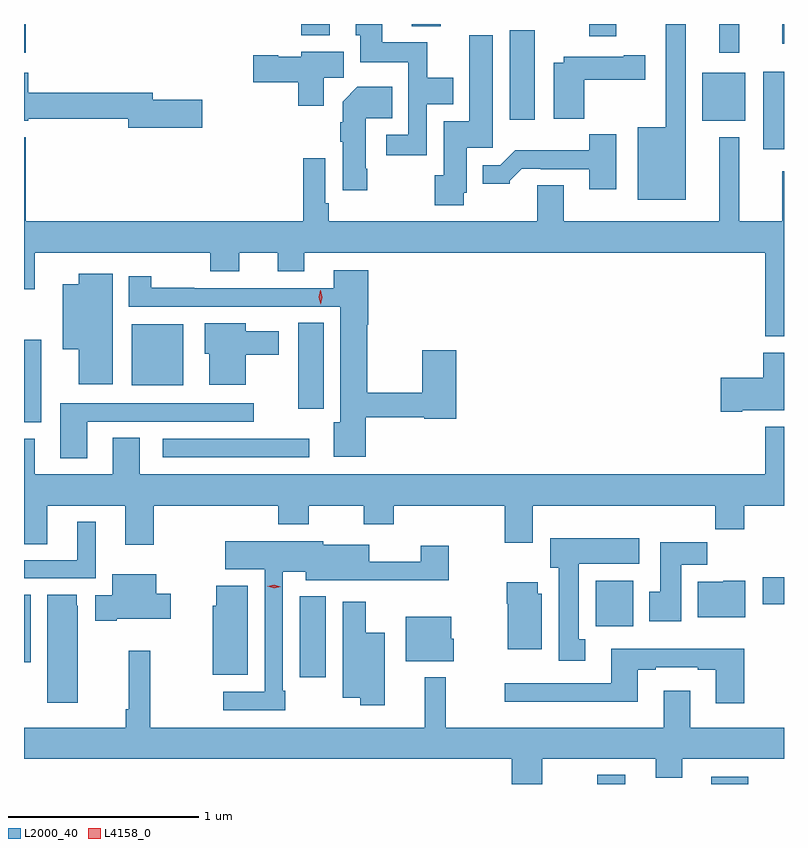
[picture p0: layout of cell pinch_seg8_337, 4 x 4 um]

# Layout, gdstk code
import gdstk
lib = gdstk.Library(unit=1e-6, precision=1e-09)
def R(c, l, rs):  # rectangles x0, y0, x1, y1
    for r in rs: c.add(gdstk.rectangle(r[:2], r[2:], *l))
def P(c, l, *ps):  # polygons
    for p in ps: c.add(gdstk.Polygon(p, *l))
L2000_40 = (2000, 40)
L4158_0 = (4158, 0)

pinch_seg8_337 = lib.new_cell('pinch_seg8_337')
R(pinch_seg8_337, L2000_40, [(462.184,1150.999,462.331,1151.047), (462.785,1150.999,462.979,1151.038), (460.619,1151.562,460.756,1151.986), (459.167,1151.64,459.202,1151.996), (462.176,1151.828,462.373,1152.07), (463.056,1151.945,463.167,1152.087), (459.897,1152.72,460.669,1152.816), (459.167,1152.902,459.259,1153.336), (460.61,1152.975,460.744,1153.427), (459.734,1153.097,460.006,1153.42), (463.058,1154.339,463.167,1154.749), (462.737,1154.489,462.964,1154.743), (461.723,1154.496,461.854,1154.965), (459.167,1154.847,459.175,1154.999), (462.827,1154.847,462.931,1154.999), (463.159,1154.895,463.167,1154.999), (462.143,1154.934,462.283,1154.999), (460.625,1154.939,460.777,1154.999), (461.207,1154.987,461.36,1154.999)])
P(pinch_seg8_337, L2000_40, [(461.286,1154.576),(461.425,1154.576),(461.425,1154.716),(461.289,1154.716),(461.289,1154.902),(461.053,1154.902),(461.053,1154.999),(460.913,1154.999),(460.913,1154.94),(460.937,1154.94),(460.937,1154.798),(461.19,1154.798),(461.19,1154.415),(461.073,1154.415),(461.073,1154.307),(461.286,1154.307)],
  [(462.649,1154.999),(462.545,1154.999),(462.545,1154.455),(462.398,1154.455),(462.398,1154.075),(462.649,1154.075)],
  [(461.481,1154.112),(461.497,1154.112),(461.497,1154.349),(461.635,1154.349),(461.635,1154.941),(461.51,1154.941),(461.51,1154.488),(461.375,1154.488),(461.375,1154.202),(461.329,1154.202),(461.329,1154.046),(461.481,1154.046)],
  [(460.744,1154.716),(460.849,1154.716),(460.849,1154.854),(460.626,1154.854),(460.626,1154.827),(460.506,1154.827),(460.506,1154.835),(460.374,1154.835),(460.374,1154.693),(460.61,1154.693),(460.61,1154.568),(460.744,1154.568)],
  [(462.116,1154.705),(462.436,1154.705),(462.436,1154.835),(462.323,1154.835),(462.323,1154.827),(462.009,1154.827),(462.009,1154.794),(461.954,1154.794),(461.954,1154.501),(462.116,1154.501)],
  [(460.105,1154.6),(459.844,1154.6),(459.844,1154.636),(459.19,1154.636),(459.19,1154.743),(459.167,1154.743),(459.167,1154.489),(459.19,1154.489),(459.19,1154.5),(459.716,1154.5),(459.716,1154.453),(460.105,1154.453)],
  [(460.974,1154.236),(460.966,1154.236),(460.966,1154.504),(461.105,1154.504),(461.105,1154.668),(460.922,1154.668),(460.844,1154.59),(460.844,1154.483),(460.832,1154.483),(460.832,1154.38),(460.844,1154.38),(460.844,1154.124),(460.974,1154.124)],
  [(462.283,1154.419),(462.141,1154.419),(462.141,1154.335),(461.752,1154.335),(461.673,1154.256),(461.582,1154.256),(461.582,1154.159),(461.724,1154.159),(461.724,1154.174),(461.788,1154.238),(461.887,1154.238),(461.887,1154.235),(462.143,1154.235),(462.143,1154.13),(462.283,1154.13)],
  [(463.167,1154.224),(463.159,1154.224),(463.159,1153.96),(462.931,1153.96),(462.931,1154.404),(462.827,1154.404),(462.827,1153.96),(462.007,1153.96),(462.007,1154.15),(461.867,1154.15),(461.867,1153.96),(460.772,1153.96),(460.772,1154.056),(460.752,1154.056),(460.752,1154.293),(460.636,1154.293),(460.636,1153.96),(459.175,1153.96),(459.175,1154.404),(459.167,1154.404),(459.167,1153.602),(459.223,1153.602),(459.223,1153.796),(460.148,1153.796),(460.148,1153.697),(460.3,1153.697),(460.3,1153.796),(460.502,1153.796),(460.502,1153.697),(460.642,1153.697),(460.642,1153.796),(463.067,1153.796),(463.067,1153.355),(463.167,1153.355)],
  [(460.966,1152.93),(461.274,1152.93),(461.274,1152.922),(461.441,1152.922),(461.441,1153.282),(461.263,1153.282),(461.263,1153.058),(460.974,1153.058),(460.974,1153.415),(460.979,1153.415),(460.979,1153.702),(460.796,1153.702),(460.796,1153.608),(460.064,1153.608),(460.064,1153.61),(459.837,1153.61),(459.837,1153.672),(459.719,1153.672),(459.719,1153.512),(460.832,1153.512),(460.832,1152.904),(460.796,1152.904),(460.796,1152.722),(460.966,1152.722)],
  [(459.634,1153.684),(459.455,1153.684),(459.455,1153.63),(459.371,1153.63),(459.371,1153.286),(459.455,1153.286),(459.455,1153.103),(459.634,1153.103)],
  [(460.333,1153.259),(460.507,1153.259),(460.507,1153.381),(460.333,1153.381),(460.333,1153.423),(460.118,1153.423),(460.118,1153.263),(460.142,1153.263),(460.142,1153.1),(460.333,1153.1)],
  [(462.946,1152.965),(463.167,1152.965),(463.167,1153.27),(463.058,1153.27),(463.058,1153.136),(462.834,1153.136),(462.834,1152.958),(462.946,1152.958)],
  [(459.499,1152.906),(460.375,1152.906),(460.375,1153.002),(459.359,1153.002),(459.359,1152.714),(459.499,1152.714)],
  [(459.849,1152.464),(460.505,1152.464),(460.505,1152.365),(460.665,1152.365),(460.665,1152.464),(460.954,1152.464),(460.954,1152.365),(461.114,1152.365),(461.114,1152.464),(461.698,1152.464),(461.698,1152.27),(461.845,1152.27),(461.845,1152.464),(462.805,1152.464),(462.805,1152.34),(462.957,1152.34),(462.957,1152.464),(463.167,1152.464),(463.167,1152.88),(463.067,1152.88),(463.067,1152.628),(459.775,1152.628),(459.775,1152.821),(459.635,1152.821),(459.635,1152.628),(459.223,1152.628),(459.223,1152.817),(459.167,1152.817),(459.167,1152.262),(459.289,1152.262),(459.289,1152.464),(459.701,1152.464),(459.701,1152.258),(459.849,1152.258)],
  [(459.544,1152.379),(459.446,1152.379),(459.446,1152.177),(459.167,1152.177),(459.167,1152.081),(459.544,1152.081)],
  [(462.121,1151.762),(462.088,1151.762),(462.088,1152.158),(462.406,1152.158),(462.406,1152.292),(461.936,1152.292),(461.936,1152.138),(461.981,1152.138),(461.981,1151.649),(462.121,1151.649)],
  [(460.543,1151.491),(460.53,1151.491),(460.53,1152.116),(460.649,1152.116),(460.649,1152.071),(461.403,1152.071),(461.403,1152.253),(461.255,1152.253),(461.255,1152.17),(460.984,1152.17),(460.984,1152.259),(460.743,1152.259),(460.743,1152.277),(460.227,1152.277),(460.227,1152.128),(460.434,1152.128),(460.434,1151.484),(460.215,1151.484),(460.215,1151.388),(460.543,1151.388)],
  [(462.625,1152.152),(462.764,1152.152),(462.764,1152.271),(462.515,1152.271),(462.515,1152.012),(462.458,1152.012),(462.458,1151.856),(462.625,1151.856)],
  [(459.655,1151.87),(459.94,1151.87),(459.94,1152),(459.862,1152),(459.862,1152.103),(459.632,1152.103),(459.632,1151.992),(459.543,1151.992),(459.543,1151.858),(459.655,1151.858)],
  [(462.964,1152.07),(462.846,1152.07),(462.846,1152.064),(462.713,1152.064),(462.713,1151.876),(462.964,1151.876)],
  [(461.893,1152),(461.872,1152),(461.872,1152.061),(461.707,1152.061),(461.707,1151.948),(461.714,1151.948),(461.714,1151.708),(461.893,1151.708)],
  [(460.345,1152.043),(460.178,1152.043),(460.178,1151.937),(460.16,1151.937),(460.16,1151.573),(460.345,1151.573)],
  [(459.451,1151.937),(459.445,1151.937),(459.445,1151.996),(459.29,1151.996),(459.29,1151.427),(459.451,1151.427)],
  [(461.065,1151.794),(460.966,1151.794),(460.966,1151.959),(460.844,1151.959),(460.844,1151.453),(460.936,1151.453),(460.936,1151.414),(461.065,1151.414)],
  [(461.428,1151.763),(461.416,1151.763),(461.416,1151.878),(461.177,1151.878),(461.177,1151.645),(461.428,1151.645)],
  [(462.957,1151.71),(462.257,1151.71),(462.257,1151.529),(461.697,1151.529),(461.697,1151.432),(462.397,1151.432),(462.397,1151.601),(462.493,1151.601),(462.493,1151.613),(462.713,1151.613),(462.713,1151.601),(462.809,1151.601),(462.809,1151.424),(462.957,1151.424)],
  [(461.895,1151.132),(462.491,1151.132),(462.491,1151.033),(462.631,1151.033),(462.631,1151.132),(463.167,1151.132),(463.167,1151.296),(462.673,1151.296),(462.673,1151.491),(462.533,1151.491),(462.533,1151.296),(461.386,1151.296),(461.386,1151.56),(461.276,1151.56),(461.276,1151.296),(459.832,1151.296),(459.832,1151.701),(459.718,1151.701),(459.718,1151.392),(459.703,1151.392),(459.703,1151.296),(459.167,1151.296),(459.167,1151.132),(461.735,1151.132),(461.735,1150.999),(461.895,1150.999)])
P(pinch_seg8_337, L4158_0, [(460.728,1153.525),(460.718,1153.561),(460.727,1153.597),(460.727,1153.597),(460.728,1153.597),(460.738,1153.561),(460.729,1153.525),(460.729,1153.525)],
  [(460.483,1152.029),(460.448,1152.04),(460.448,1152.041),(460.448,1152.041),(460.483,1152.049),(460.518,1152.038),(460.518,1152.038),(460.518,1152.038)])

lib.write_gds('pinch_seg8_337.gds')
